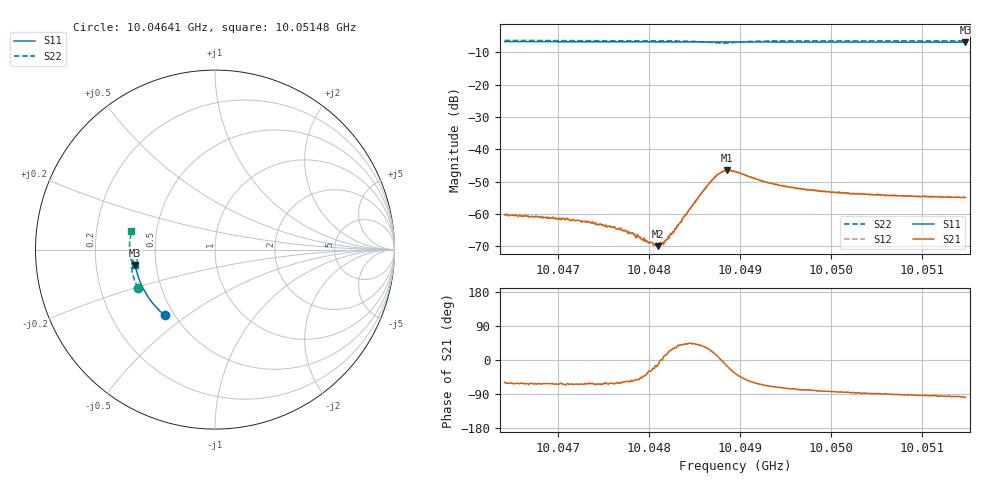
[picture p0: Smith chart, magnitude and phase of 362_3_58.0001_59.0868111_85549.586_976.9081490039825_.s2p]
#  HZ  S  RI  R  50.00
! Rohde & Schwarz Vector Network Analyzer
! Rohde-Schwarz,ZNB20-2Port,1311601062101988,3.16
! Created: UTC 3/21/2024, 1:06:28 AM
! freq[Hz]  re:S11  im:S11  re:S21  im:S21  re:S12  im:S12  re:S22  im:S22
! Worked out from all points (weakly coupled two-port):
!   401 points, 10.04641 GHz to 10.05148 GHz, reference 50 ohm
!   highest |S21| = -46.58 dB at 10.04886 GHz (marker M1); lowest = -70.0 dB at 10.0481 GHz (marker M2)
!   lowest |S11| = -6.9 dB at 10.05148 GHz (marker M3), VSWR 2.65, Z = 19 - j4.07 ohm
!   |S11| at or under -10 dB: nowhere
!   |S22| runs from -7.2 to -6.4 dB; largest |S21 - S12| = 0.00033
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1.0046413e10  -0.2796 -0.3664  0.000496 -0.000823  0.000535 -0.000799  -0.4307 -0.2139
1.0047085e10  -0.3128 -0.3366  0.000338 -0.000754  0.000428 -0.000679  -0.4479 -0.1718
1.0047262e10  -0.3209 -0.3284  0.00033 -0.000664  0.000385 -0.000685  -0.4517 -0.1604
1.0047591e10  -0.3356 -0.3124  0.000307 -0.000533  0.000323 -0.000526  -0.458 -0.1382
1.0047705e10  -0.3404 -0.3067  0.0003 -0.000482  0.000305 -0.000485  -0.4599 -0.1303
1.0047806e10  -0.3446 -0.3015  0.000302 -0.000409  0.000319 -0.000375  -0.4612 -0.1231
1.0047908e10  -0.3489 -0.2963  0.000295 -0.000303  0.000319 -0.000297  -0.4626 -0.1159
1.0048034e10  -0.354 -0.2896  0.000325 -0.000157  0.000311 -0.000148  -0.4641 -0.1063
1.0048072e10  -0.3556 -0.2877  0.000321 -8.43e-05  0.00033 -0.000107  -0.4644 -0.1032
1.0048098e10  -0.3565 -0.2864  0.00031 -6.79e-05  0.000331 -4.97e-05  -0.4645 -0.1014
1.004811e10  -0.3571 -0.2857  0.000342 -5.62e-05  0.000356 -8.51e-06  -0.4646 -0.1004
1.0048186e10  -0.3601 -0.2817  0.000381 9.13e-05  0.000376 0.000104  -0.4649 -0.0943
1.0048237e10  -0.3622 -0.279  0.00044 0.000209  0.000444 0.000226  -0.4649 -0.09
1.0048579e10  -0.3747 -0.2603  0.00165 0.00127  0.00161 0.00139  -0.4548 -0.0592
1.0048693e10  -0.3787 -0.2541  0.00303 0.00127  0.00299 0.00145  -0.4423 -0.0539
1.0048782e10  -0.3815 -0.2492  0.00426 0.000214  0.00425 0.000489  -0.4326 -0.06
1.0048858e10  -0.3841 -0.2452  0.00452 -0.00125  0.00461 -0.000984  -0.433 -0.0698
1.0048946e10  -0.3873 -0.2402  0.00367 -0.00259  0.0039 -0.00237  -0.4431 -0.0757
1.0049314e10  -0.399 -0.2192  0.00108 -0.00281  0.00127 -0.00276  -0.4697 -0.0502
1.0049795e10  -0.4126 -0.1906  0.000432 -0.0023  0.00054 -0.00226  -0.4761 -0.0124
1.0050643e10  -0.4317 -0.1383  2.52e-06 -0.00191  6.89e-05 -0.00194  -0.4745 0.0465
1.0051479e10  -0.4439 -0.0851  -0.000258 -0.00177  -0.000142 -0.00183  -0.4653 0.1016
